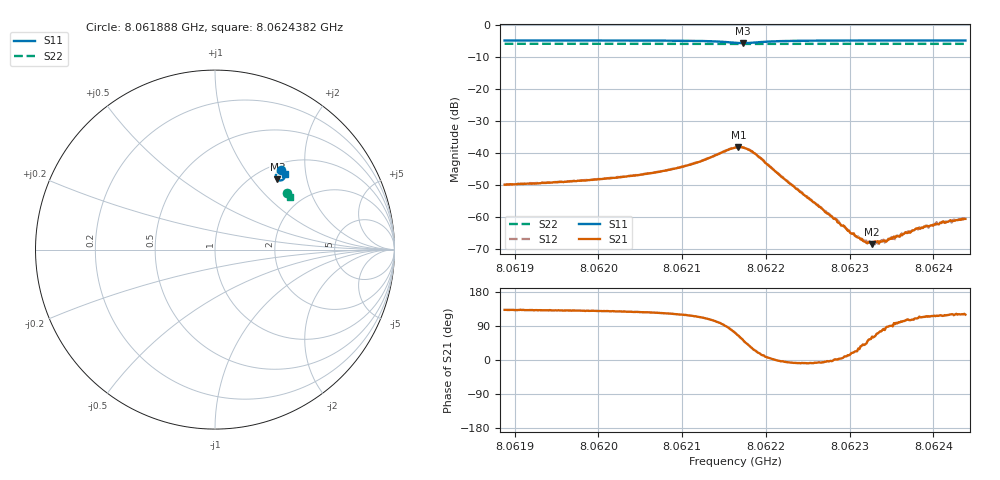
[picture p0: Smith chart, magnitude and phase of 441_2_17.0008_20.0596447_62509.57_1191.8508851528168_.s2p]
#  HZ  S  RI  R  50.00
! Rohde & Schwarz Vector Network Analyzer
! Rohde-Schwarz,ZNB20-2Port,1311601062101988,3.16
! Created: UTC 3/20/2024, 11:11:52 PM
! freq[Hz]  re:S11  im:S11  re:S21  im:S21  re:S12  im:S12  re:S22  im:S22
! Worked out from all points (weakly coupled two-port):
!   401 points, 8.061888 GHz to 8.0624382 GHz, reference 50 ohm
!   highest |S21| = -38.18 dB at 8.0621673 GHz (marker M1); lowest = -68.5 dB at 8.0623268 GHz (marker M2)
!   lowest |S11| = -5.6 dB at 8.0621728 GHz (marker M3), VSWR 3.19, Z = 62.7 + j67.5 ohm
!   |S11| at or under -10 dB: nowhere
!   |S22| runs from -5.9 to -5.8 dB; largest |S21 - S12| = 0.00084
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8.06188805e9  0.3698 0.4417  -0.00214 0.00235  -0.00198 0.00249  0.3996 0.318
8.0619802e9  0.3765 0.4356  -0.00236 0.00282  -0.00225 0.00297  0.4031 0.3133
8.06203934e9  0.3814 0.43  -0.00264 0.00348  -0.00242 0.00365  0.4053 0.3102
8.06207235e9  0.3846 0.4256  -0.00282 0.00417  -0.00263 0.00438  0.4065 0.3083
8.06211636e9  0.3886 0.4139  -0.00298 0.00629  -0.0026 0.00657  0.4081 0.3056
8.06216312e9  0.364 0.3852  0.00376 0.0115  0.00449 0.0113  0.4082 0.3026
8.06216725e9  0.3565 0.3862  0.00535 0.0111  0.00598 0.0107  0.408 0.3025
8.06217275e9  0.3473 0.3911  0.0073 0.00958  0.00802 0.00929  0.4079 0.3026
8.06218651e9  0.3387 0.4138  0.00886 0.00427  0.00912 0.00376  0.4082 0.303
8.06221951e9  0.3588 0.435  0.00415 -0.000239  0.0042 -0.000501  0.4103 0.3022
8.06225527e9  0.3715 0.4346  0.00174 -0.000253  0.00172 -0.000341  0.4123 0.3003
8.06228416e9  0.3771 0.4326  0.000901 2.18e-05  0.000918 -9.72e-06  0.4133 0.2988
8.06230066e9  0.3794 0.4312  0.000543 0.000142  0.00057 8.75e-05  0.4139 0.2978
8.06231854e9  0.3819 0.43  0.000305 0.000267  0.000336 0.000254  0.4147 0.2968
8.06232679e9  0.3827 0.4297  0.000176 0.00033  0.000218 0.000328  0.4149 0.2965
8.06233092e9  0.3831 0.4293  0.000177 0.000368  0.000172 0.000378  0.4152 0.2962
8.06234742e9  0.3846 0.4281  2.39e-06 0.000444  4.51e-05 0.00045  0.4158 0.2955
8.06235705e9  0.3855 0.4275  -5.88e-05 0.000492  -1.98e-05 0.00051  0.4161 0.295
8.06236393e9  0.3863 0.4271  -0.000118 0.000524  -8.84e-05 0.000562  0.4163 0.2945
8.06238043e9  0.3876 0.4261  -0.000222 0.000616  -0.00021 0.000613  0.4169 0.2938
8.06240657e9  0.3896 0.4243  -0.000343 0.000678  -0.00035 0.000729  0.4178 0.2922
8.0624382e9  0.3919 0.4225  -0.000461 0.000803  -0.000464 0.000821  0.4188 0.2907
